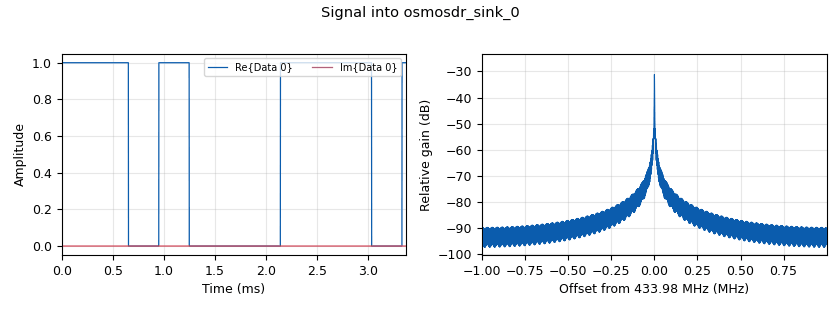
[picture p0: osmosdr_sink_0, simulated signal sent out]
options:
  parameters:
    author: cascades
    generate_options: qt_gui
    id: Send
    output_language: python
    title: Not titled yet
  states: {}

blocks:
- name: samp_rate
  id: variable
  parameters:
    value: 2e6
  states: {}
- name: blocks_repeat_0
  id: blocks_repeat
  parameters:
    interp: '595'
    type: complex
  states: {}
- name: blocks_vector_source_x_0
  id: blocks_vector_source_x
  parameters:
    repeat: 'True'
    type: complex
    vector: (1,0,0,0,0,0,0,0,0,0,0,0,0,0,0,0,0,0,0,0,0,0,0,0,0,0,0,0,0,0,0,0,1, 1, 1, 0, 1, 0, 0, 0, 1, 1, 1, 0, 1, 1, 1, 0, 1, 1, 1, 0, 1, 1, 1, 0, 1, 0, 0, 0, 1, 0, 0, 0, 1, 0, 0, 0, 1, 1, 1, 0, 1, 0, 0, 0, 1, 1, 1, 0, 1, 0, 0, 0, 1, 1, 1, 0, 1, 1, 1, 0, 1, 1, 1, 0, 1, 0, 0, 0, 1, 1, 1, 0, 1, 0, 0, 0, 1, 0, 0, 0, 1, 1, 1, 0, 1, 0, 0, 0, 1, 0, 0, 0, 1, 0, 0, 0)
  states: {}
- name: osmosdr_sink_0
  id: osmosdr_sink
  parameters:
    bb_gain0: '20'
    freq0: 433.98e6
    gain0: '10'
    if_gain0: '20'
    sample_rate: samp_rate
    sync: sync
    type: fc32
  states: {}

connections:
- [blocks_repeat_0, '0', osmosdr_sink_0, '0']
- [blocks_vector_source_x_0, '0', blocks_repeat_0, '0']

metadata:
  file_format: 1
